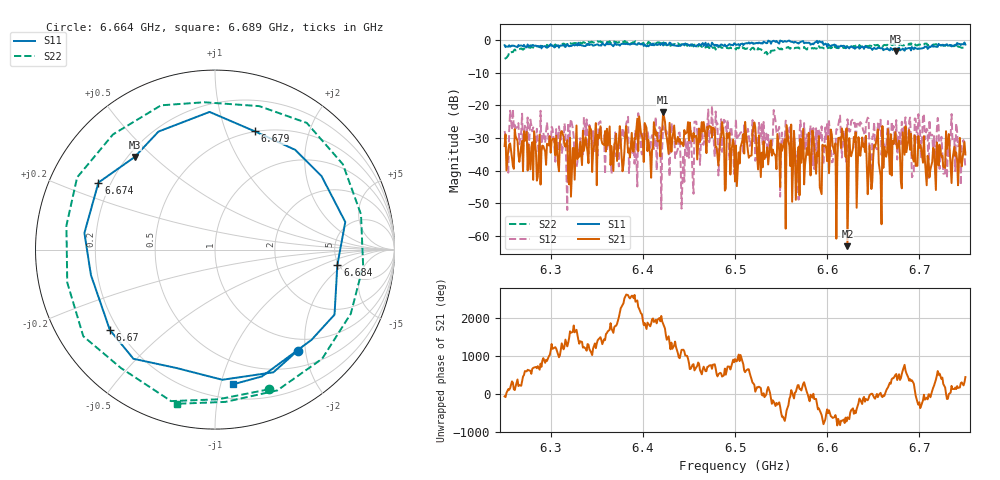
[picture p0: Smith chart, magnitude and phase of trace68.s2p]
# Hz S RI R 50
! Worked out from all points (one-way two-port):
!   401 points, 6.25 GHz to 6.75 GHz, reference 50 ohm
!   highest |S21| = -22.13 dB at 6.422 GHz (marker M1); lowest = -63.1 dB at 6.622 GHz (marker M2)
!   lowest |S11| = -3.3 dB at 6.675 GHz (marker M3), VSWR 5.31, Z = 11.3 + j21.8 ohm
!   |S11| at or under -10 dB: nowhere
!   |S22| runs from -5.7 to -0.3 dB; largest |S21 - S12| = 0.13
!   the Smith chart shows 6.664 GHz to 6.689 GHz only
!   S11 on the Smith chart (normalised r, x): 6.664 GHz: 0.77, -1.85; 6.67 GHz: 0.17, -0.33; 6.674 GHz: 0.15, +0.26; 6.679 GHz: 0.50, +1.27; 6.684 GHz: 4.87, -1.57; 6.689 GHz: 0.31, -1.09
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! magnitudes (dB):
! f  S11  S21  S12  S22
! 6.25 GHz  -1.6  -32.5  -27.8  -5.7
! 6.334 GHz  -1.7  -38.3  -35.4  -1.0
! 6.418 GHz  -1.1  -30.6  -26.6  -0.7
! 6.422 GHz  -1.6  -22.1  -26.4  -0.5
! 6.444 GHz  -1.2  -32.5  -35.1  -1.0
! 6.472 GHz  -1.5  -26.3  -31.3  -2.5
! 6.5 GHz  -1.1  -43.3  -32.7  -2.4
! 6.584 GHz  -1.1  -27.7  -38.3  -2.4
! 6.606 GHz  -1.5  -32.3  -37.3  -2.7
! 6.609 GHz  -1.7  -31.6  -32.5  -2.2
! 6.619 GHz  -1.9  -31.2  -32.5  -2.4
! 6.622 GHz  -2.0  -63.1  -24.2  -1.9
! 6.664 GHz  -2.8  -35.7  -33.1  -1.6
! 6.668 GHz  -3.2  -41.0  -32.8  -1.5
! 6.67 GHz  -2.6  -41.5  -25.0  -1.5
! 6.674 GHz  -2.5  -28.2  -31.9  -1.3
! 6.675 GHz  -3.3  -31.4  -24.5  -1.3
! 6.679 GHz  -3.2  -35.1  -28.9  -1.2
! 6.684 GHz  -3.3  -35.1  -25.7  -1.6
! 6.689 GHz  -2.4  -27.5  -24.9  -1.1
! 6.71 GHz  -2.4  -36.6  -42.2  -1.5
! 6.75 GHz  -1.4  -35.0  -39.2  -2.0
